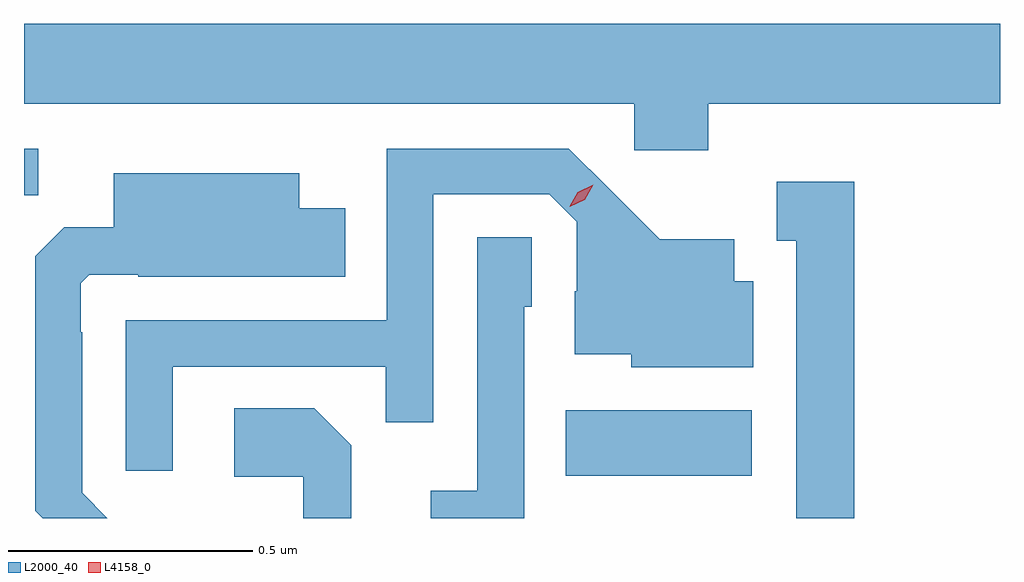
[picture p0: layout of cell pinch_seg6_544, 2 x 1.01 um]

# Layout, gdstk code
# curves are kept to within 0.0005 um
import gdstk
lib = gdstk.Library(unit=1e-6, precision=1e-09)
def R(c, l, rs):  # rectangles x0, y0, x1, y1
    for r in rs: c.add(gdstk.rectangle(r[:2], r[2:], *l))
def P(c, l, *ps):  # polygons
    for p in ps: c.add(gdstk.Polygon(p, *l))
L2000_40 = (2000, 40)
L4158_0 = (4158, 0)

pinch_seg6_544 = lib.new_cell('pinch_seg6_544')
R(pinch_seg6_544, L2000_40, [(783.166,950.57,783.547,950.704), (782.056,951.145,782.085,951.24)])
P(pinch_seg6_544, L2000_40, [(783.458,951.332),(784.056,951.332),(784.056,951.496),(782.056,951.496),(782.056,951.332),(783.306,951.332),(783.306,951.237),(783.458,951.237)],
  [(782.361,950.793),(782.797,950.793),(782.797,950.68),(782.895,950.68),(782.895,951.147),(783.132,951.147),(783.189,951.09),(783.189,950.948),(783.185,950.948),(783.185,950.819),(783.3,950.819),(783.3,950.792),(783.55,950.792),(783.55,950.968),(783.511,950.968),(783.511,951.055),(783.359,951.055),(783.172,951.24),(782.799,951.24),(782.799,950.889),(782.265,950.889),(782.265,950.58),(782.361,950.58)],
  [(782.175,950.535),(782.175,950.864),(782.172,950.864),(782.172,950.964),(782.19,950.982),(782.29,950.982),(782.29,950.978),(782.714,950.978),(782.714,951.118),(782.62,951.118),(782.62,951.19),(782.24,951.19),(782.24,951.079),(782.138,951.079),(782.079,951.02),(782.079,950.498),(782.094,950.483),(782.227,950.483)],
  [(783.757,951.172),(783.599,951.172),(783.599,951.051),(783.638,951.051),(783.638,950.483),(783.757,950.483)],
  [(783.081,950.916),(783.096,950.916),(783.096,951.059),(782.985,951.059),(782.985,950.539),(782.889,950.539),(782.889,950.483),(783.081,950.483)],
  [(782.727,950.632),(782.651,950.708),(782.487,950.708),(782.487,950.568),(782.628,950.568),(782.628,950.483),(782.727,950.483)])
P(pinch_seg6_544, L4158_0, [(783.174,951.121),(783.174,951.122),(783.191,951.151),(783.222,951.166),(783.222,951.166),(783.222,951.166),(783.205,951.136),(783.174,951.121)])

lib.write_gds('pinch_seg6_544.gds')
